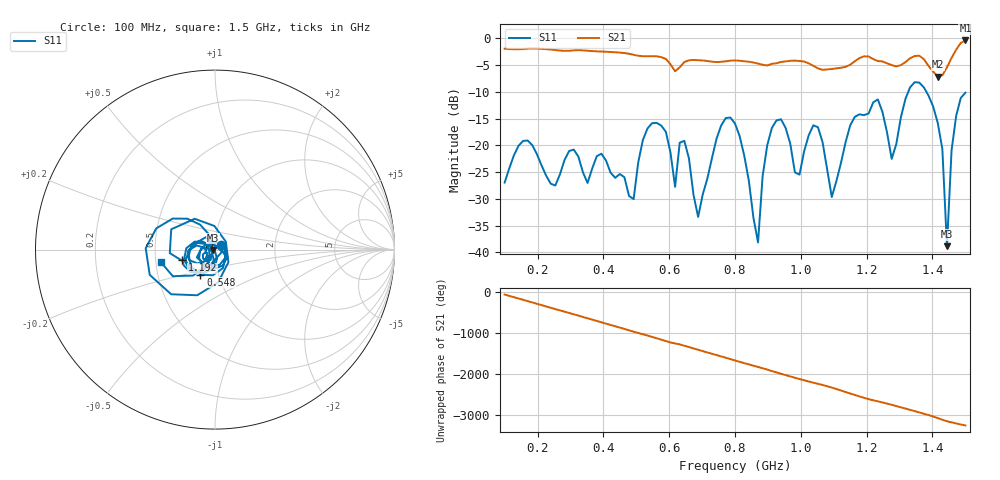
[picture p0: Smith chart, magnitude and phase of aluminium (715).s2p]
! NanoVNA-App
! Date: 2025-09-25 15:00:51
! Start: 100MHz Stop: 1,5GHz Points: 101
! S-Parameter data: F S11 S21 S12 S22
# Hz S RI R 50
!  Frequency  S11_Real  S11_Imag  S21_Real  S21_Imag  S12_Real  S12_Imag  S22_Real  S22_Imag
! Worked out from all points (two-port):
!   101 points, 100 MHz to 1.5 GHz, reference 50 ohm
!   highest |S21| = -0.38 dB at 1.5 GHz (marker M1); lowest = -7.1 dB at 1.416 GHz (marker M2)
!   |S21| within 3 dB of the highest: start of sweep to 565.6 MHz; 1.46 GHz to end of sweep (the widest 2 of 4)
!   lowest |S11| = -38.8 dB at 1.444 GHz (marker M3), VSWR 1.02, Z = 48.9 - j0.263 ohm
!   |S11| at or under -10 dB: start of sweep to 1.326 GHz; 1.382 GHz to end of sweep
!   S12 and S22 are empty: the file has one direction only
!   S11 on the Smith chart (normalised r, x): 100 MHz: 1.07, +0.06; 548 MHz: 0.82, -0.23; 1.192 GHz: 0.69, -0.08; 1.5 GHz: 0.53, -0.08
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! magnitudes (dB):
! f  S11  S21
! 100 MHz  -27.0  -1.9
! 156 MHz  -19.2  -2.0
! 338 MHz  -25.0  -2.2
! 492 MHz  -30.0  -3.1
! 548 MHz  -15.8  -3.3
! 576 MHz  -16.3  -3.5
! 618 MHz  -27.7  -6.1
! 646 MHz  -19.1  -4.4
! 688 MHz  -33.4  -4.1
! 800 MHz  -15.9  -4.1
! 870 MHz  -38.1  -4.7
! 912 MHz  -16.7  -4.7
! 996 MHz  -25.5  -4.2
! 1.038 GHz  -16.2  -5.1
! 1.094 GHz  -29.6  -5.7
! 1.192 GHz  -14.3  -3.3
! 1.276 GHz  -22.5  -5.0
! 1.346 GHz  -8.2  -3.3
! 1.416 GHz  -15.8  -7.1
! 1.444 GHz  -38.8  -5.4
! 1.458 GHz  -20.9  -3.6
! 1.5 GHz  -10.1  -0.4
